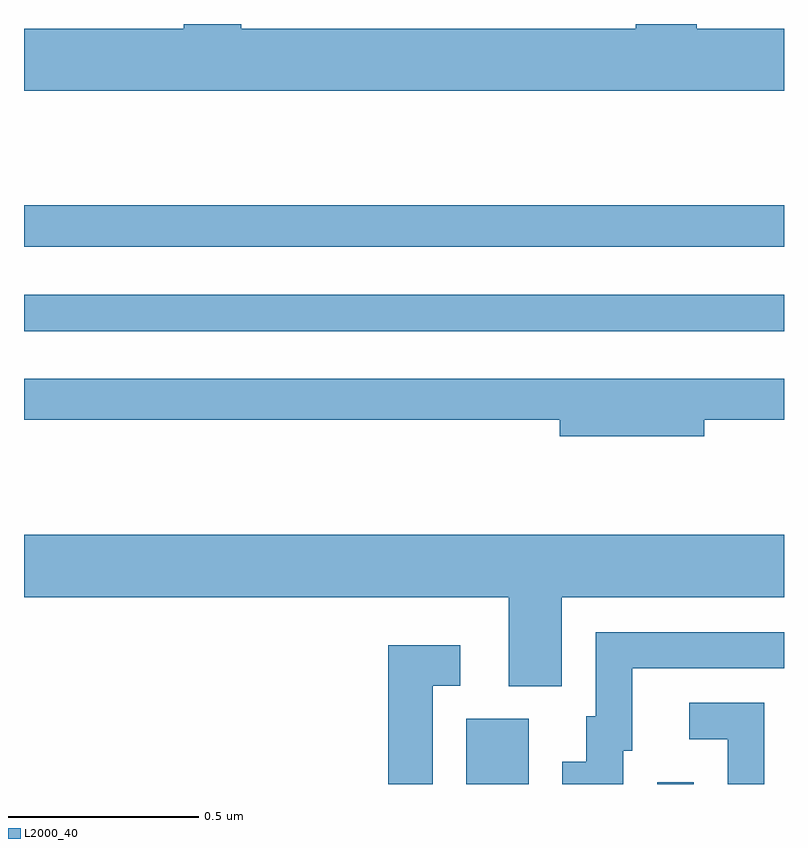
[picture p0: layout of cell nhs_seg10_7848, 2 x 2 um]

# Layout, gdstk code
import gdstk
lib = gdstk.Library(unit=1e-6, precision=1e-09)
def R(c, l, rs):  # rectangles x0, y0, x1, y1
    for r in rs: c.add(gdstk.rectangle(r[:2], r[2:], *l))
def P(c, l, *ps):  # polygons
    for p in ps: c.add(gdstk.Polygon(p, *l))
L2000_40 = (2000, 40)

nhs_seg10_7848 = lib.new_cell('nhs_seg10_7848')
R(nhs_seg10_7848, L2000_40, [(210.164,1290.5,210.328,1290.672), (210.666,1290.5,210.762,1290.505), (209,1291.692,211,1291.788), (209,1291.914,211,1292.023)])
P(nhs_seg10_7848, L2000_40, [(211,1292.488),(210.77,1292.488),(210.77,1292.5),(210.61,1292.5),(210.61,1292.488),(209.572,1292.488),(209.572,1292.5),(209.42,1292.5),(209.42,1292.488),(209,1292.488),(209,1292.324),(211,1292.324)],
  [(210.79,1291.458),(211,1291.458),(211,1291.566),(209,1291.566),(209,1291.458),(210.41,1291.458),(210.41,1291.415),(210.79,1291.415)],
  [(210.415,1290.992),(211,1290.992),(211,1291.156),(209,1291.156),(209,1290.992),(210.275,1290.992),(210.275,1290.757),(210.415,1290.757)],
  [(210.577,1290.588),(210.601,1290.588),(210.601,1290.804),(211,1290.804),(211,1290.9),(210.504,1290.9),(210.504,1290.678),(210.479,1290.678),(210.479,1290.559),(210.416,1290.559),(210.416,1290.5),(210.577,1290.5)],
  [(210.075,1290.759),(210.148,1290.759),(210.148,1290.865),(209.959,1290.865),(209.959,1290.5),(210.075,1290.5)],
  [(210.948,1290.714),(210.75,1290.714),(210.75,1290.618),(210.852,1290.618),(210.852,1290.5),(210.948,1290.5)])

lib.write_gds('nhs_seg10_7848.gds')
